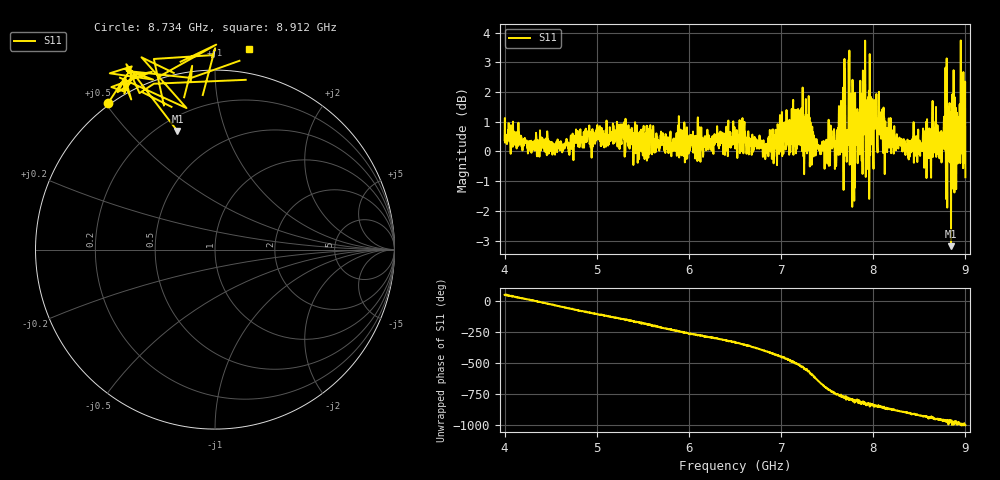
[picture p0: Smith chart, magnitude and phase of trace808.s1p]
! Created with skrf 1.8.0 (http://scikit-rf.org).
# Hz S RI R 50.0
!freq ReS11 ImS11
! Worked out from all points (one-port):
!   1601 points, 4 GHz to 9 GHz, reference 50 ohm
!   lowest |S11| = -3.2 dB at 8.844 GHz (marker M1), VSWR 5.51, Z = 13.7 + j34.8 ohm
!   |S11| at or under -10 dB: nowhere
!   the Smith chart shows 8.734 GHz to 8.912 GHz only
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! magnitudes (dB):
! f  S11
! 4 GHz  0.4
! 4.625 GHz  0.0
! 5.25 GHz  0.4
! 5.875 GHz  0.2
! 6.5 GHz  0.4
! 6.825 GHz  0.1
! 7.125 GHz  0.6
! 7.269 GHz  1.8
! 7.284 GHz  1.2
! 7.338 GHz  0.8
! 7.497 GHz  0.1
! 7.597 GHz  -0.5
! 7.669 GHz  1.0
! 7.75 GHz  1.5
! 7.769 GHz  0.6
! 7.816 GHz  0.6
! 7.891 GHz  0.7
! 7.941 GHz  1.5
! 7.962 GHz  3.3
! 8.088 GHz  1.0
! 8.375 GHz  0.2
! 8.603 GHz  -0.2
! 8.656 GHz  0.6
! 8.728 GHz  0.4
! 8.775 GHz  1.0
! 8.844 GHz  -3.2
! 8.972 GHz  0.5
! 9 GHz  -0.9
